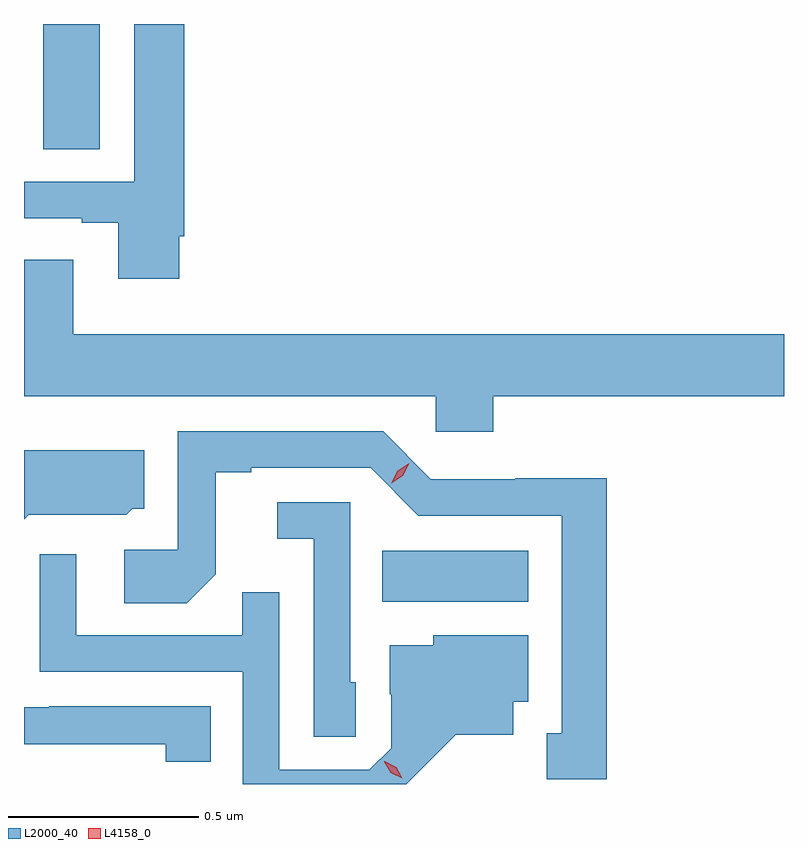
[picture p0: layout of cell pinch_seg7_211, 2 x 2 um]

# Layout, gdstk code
import gdstk
lib = gdstk.Library(unit=1e-6, precision=1e-09)
def R(c, l, rs):  # rectangles x0, y0, x1, y1
    for r in rs: c.add(gdstk.rectangle(r[:2], r[2:], *l))
def P(c, l, *ps):  # polygons
    for p in ps: c.add(gdstk.Polygon(p, *l))
L2000_40 = (2000, 40)
L4158_0 = (4158, 0)

pinch_seg7_211 = lib.new_cell('pinch_seg7_211')
R(pinch_seg7_211, L2000_40, [(1074.43,1008.068,1074.814,1008.202), (1073.537,1009.258,1073.686,1009.588)])
P(pinch_seg7_211, L2000_40, [(1073.896,1009.03),(1073.909,1009.03),(1073.909,1009.588),(1073.777,1009.588),(1073.777,1009.173),(1073.487,1009.173),(1073.487,1009.077),(1073.639,1009.077),(1073.639,1009.065),(1073.735,1009.065),(1073.735,1008.918),(1073.896,1008.918)],
  [(1074.722,1008.608),(1075.487,1008.608),(1075.487,1008.772),(1073.617,1008.772),(1073.617,1008.967),(1073.487,1008.967),(1073.487,1008.608),(1074.57,1008.608),(1074.57,1008.515),(1074.722,1008.515)],
  [(1075.021,1008.392),(1074.78,1008.392),(1074.78,1008.39),(1074.558,1008.39),(1074.432,1008.516),(1073.892,1008.516),(1073.892,1008.204),(1073.751,1008.204),(1073.751,1008.064),(1073.915,1008.064),(1073.991,1008.14),(1073.991,1008.408),(1074.085,1008.408),(1074.085,1008.42),(1074.399,1008.42),(1074.525,1008.294),(1074.902,1008.294),(1074.902,1007.721),(1074.863,1007.721),(1074.863,1007.601),(1075.021,1007.601)],
  [(1073.499,1008.297),(1073.622,1008.297),(1073.622,1008.296),(1073.756,1008.296),(1073.772,1008.312),(1073.803,1008.312),(1073.803,1008.466),(1073.487,1008.466),(1073.487,1008.285)],
  [(1074.36,1007.856),(1074.345,1007.856),(1074.345,1008.33),(1074.153,1008.33),(1074.153,1008.233),(1074.249,1008.233),(1074.249,1007.713),(1074.36,1007.713)],
  [(1074.52,1007.615),(1074.623,1007.717),(1074.775,1007.717),(1074.775,1007.804),(1074.814,1007.804),(1074.814,1007.98),(1074.564,1007.98),(1074.564,1007.953),(1074.449,1007.953),(1074.449,1007.824),(1074.453,1007.824),(1074.453,1007.682),(1074.396,1007.625),(1074.159,1007.625),(1074.159,1008.092),(1074.061,1008.092),(1074.061,1007.979),(1073.625,1007.979),(1073.625,1008.193),(1073.529,1008.193),(1073.529,1007.883),(1074.063,1007.883),(1074.063,1007.588),(1074.493,1007.588)],
  [(1073.978,1007.793),(1073.554,1007.793),(1073.554,1007.79),(1073.487,1007.79),(1073.487,1007.693),(1073.503,1007.693),(1073.503,1007.692),(1073.86,1007.692),(1073.86,1007.646),(1073.978,1007.646)])
P(pinch_seg7_211, L4158_0, [(1074.483,1007.603),(1074.452,1007.618),(1074.435,1007.647),(1074.435,1007.648),(1074.436,1007.648),(1074.466,1007.632),(1074.483,1007.603),(1074.483,1007.603)],
  [(1074.453,1008.38),(1074.453,1008.38),(1074.47,1008.413),(1074.501,1008.432),(1074.501,1008.432),(1074.501,1008.432),(1074.484,1008.399),(1074.453,1008.38)])

lib.write_gds('pinch_seg7_211.gds')
